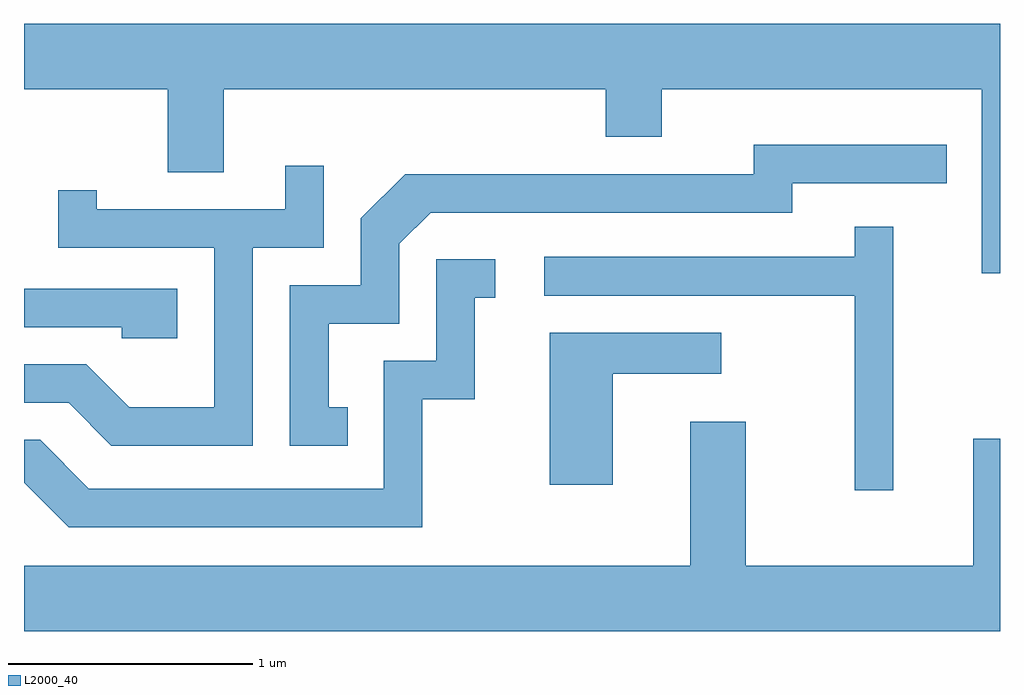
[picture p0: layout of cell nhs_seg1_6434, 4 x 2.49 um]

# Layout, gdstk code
import gdstk
lib = gdstk.Library(unit=1e-6, precision=1e-09)
def P(c, l, *ps):  # polygons
    for p in ps: c.add(gdstk.Polygon(p, *l))
L2000_40 = (2000, 40)

nhs_seg1_6434 = lib.new_cell('nhs_seg1_6434')
P(nhs_seg1_6434, L2000_40, [(383.611,866.544),(379.611,866.544),(379.611,866.276),(380.201,866.276),(380.201,865.936),(380.429,865.936),(380.429,866.276),(381.996,866.276),(381.996,866.081),(382.224,866.081),(382.224,866.276),(383.536,866.276),(383.536,865.523),(383.611,865.523)],
  [(380.938,864.974),(380.859,864.974),(380.859,865.316),(381.149,865.316),(381.149,865.644),(381.277,865.771),(382.759,865.771),(382.759,865.891),(383.393,865.891),(383.393,866.049),(382.601,866.049),(382.601,865.929),(381.174,865.929),(380.991,865.747),(380.991,865.474),(380.701,865.474),(380.701,864.816),(380.938,864.816)],
  [(380.549,865.626),(380.839,865.626),(380.839,865.963),(380.681,865.963),(380.681,865.784),(379.909,865.784),(379.909,865.863),(379.751,865.863),(379.751,865.626),(380.391,865.626),(380.391,864.974),(380.042,864.974),(379.867,865.149),(379.611,865.149),(379.611,864.991),(379.794,864.991),(379.969,864.816),(380.549,864.816)],
  [(383.174,865.713),(383.016,865.713),(383.016,865.589),(381.743,865.589),(381.743,865.431),(383.016,865.431),(383.016,864.633),(383.174,864.633)],
  [(381.244,865.006),(381.459,865.006),(381.459,865.421),(381.543,865.421),(381.543,865.579),(381.301,865.579),(381.301,865.164),(381.086,865.164),(381.086,864.639),(379.877,864.639),(379.677,864.839),(379.611,864.839),(379.611,864.664),(379.794,864.481),(381.244,864.481)],
  [(380.239,865.459),(379.611,865.459),(379.611,865.301),(380.011,865.301),(380.011,865.256),(380.239,865.256)],
  [(382.024,865.111),(382.468,865.111),(382.468,865.279),(381.766,865.279),(381.766,864.656),(382.024,864.656)],
  [(383.611,864.844),(383.501,864.844),(383.501,864.324),(382.569,864.324),(382.569,864.914),(382.341,864.914),(382.341,864.324),(379.611,864.324),(379.611,864.056),(383.611,864.056)])

lib.write_gds('nhs_seg1_6434.gds')
